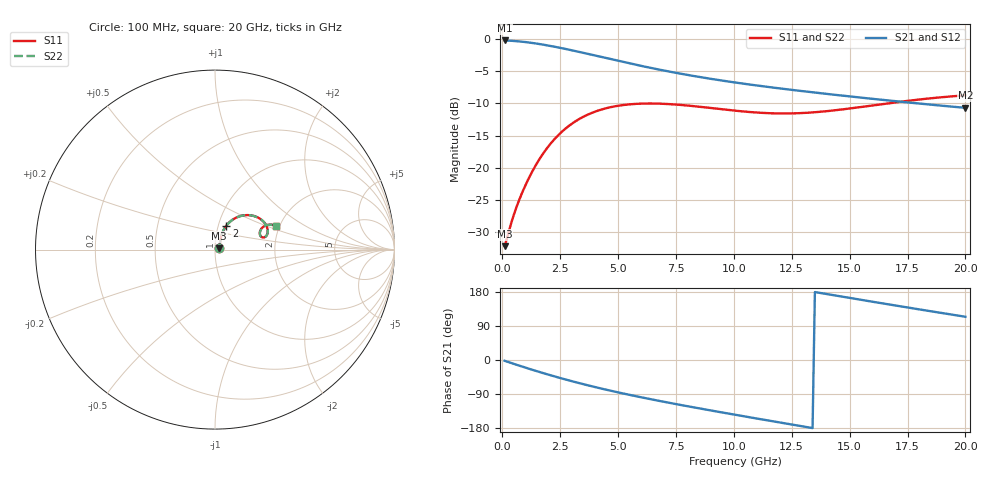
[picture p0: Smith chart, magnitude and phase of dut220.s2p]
! Touchstone file exported from HFSS 2024.1.0
!  File:  C:/UserFiles/LocalFiles/RDL_TSV_Batchsim/temp_RDL_TSV_220_1779448612.aedt
!  Generated:  07:32:49 PM May 22, 2026
!  Design:  RDL_TSV
!  Project:  temp_RDL_TSV_220_1779448612
!  Setup:  Setup1
!  Solution:  Sweep
! Variables:
!  dtsv = 10.29um
!  hbump = 3um
!  htsv = 55.93um
!  ldown = 559.9um
!  lrdl = 549.92um
!  p = 40
!  p1 = 49.11um
!  rhole = 10um
!  subl = 3879.38um
!  t = 450um
!  tdown = 4.87um
!  trdl = 2.53um
!  viad = 10um
!  wdown = 12.03um
!  wrdl = 23.87um
!  xbump = 18um
# GHz S MA R 50.000000
! Terminal data exported
! Port[1] = TM1_1_T1
! Port[2] = TM1_4_T1
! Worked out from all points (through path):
!   200 points, 100 MHz to 20 GHz, reference 50 ohm
!   highest |S21| = -0.21 dB at 100 MHz (marker M1); lowest = -10.7 dB at 20 GHz (marker M2)
!   group delay of S21, straight-line fit = 32.3 ps
!   lowest |S11| = -32.2 dB at 100 MHz (marker M3), VSWR 1.05, Z = 52.4 + j0.764 ohm
!   |S11| at or under -10 dB: start of sweep to 16.65 GHz
!   |S22| runs from -32.2 to -8.8 dB; largest |S21 - S12| = 5e-14
!   S11 on the Smith chart (normalised r, x): 100 MHz: 1.05, +0.02; 2 GHz: 1.09, +0.30; 20 GHz: 1.92, +0.58
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0.1  0.02448 17.3  0.9764 -2.1  0.9764 -2.1  0.02448 17.3
! Gamma 0 0 0 0
! Port Impedance 50 0 50 0
0.5  0.04308 50.7  0.9676 -10.3  0.9676 -10.3  0.04308 50.7
0.9  0.06647 61.8  0.953 -18.2  0.953 -18.2  0.06647 61.8
1.4  0.1011 66.3  0.928 -27.8  0.928 -27.8  0.1011 66.3
1.7  0.1238 66.1  0.91 -33.4  0.91 -33.4  0.1238 66.1
2  0.1471 64.7  0.8905 -38.8  0.8905 -38.8  0.1471 64.7
2.7  0.1993 58.7  0.841 -50.9  0.841 -50.9  0.1993 58.6
3.1  0.2257 54.4  0.8115 -57.5  0.8115 -57.5  0.2257 54.4
3.5  0.2488 50.1  0.782 -63.8  0.782 -63.8  0.2488 50.0
4.2  0.2803 42.6  0.7317 -74.3  0.7317 -74.3  0.2803 42.6
5.1  0.3049 34.0  0.6718 -86.8  0.6718 -86.8  0.3049 34.0
5.9  0.3143 27.6  0.6244 -97.2  0.6244 -97.2  0.3144 27.6
6.8  0.3146 21.9  0.578 -108.2  0.578 -108.2  0.3147 21.8
7.6  0.3086 18.1  0.5424 -117.5  0.5424 -117.5  0.3088 18.1
8.4  0.2992 15.6  0.5116 -126.5  0.5116 -126.5  0.2994 15.5
10.1  0.277 14.1  0.4585 -145.0  0.4585 -145.0  0.2773 14.0
11.7  0.2646 16.9  0.4196 -161.9  0.4196 -161.9  0.2649 16.7
13.4  0.269 21.6  0.3857 -179.7  0.3857 -179.7  0.2692 21.4
15.1  0.29 24.9  0.3567 162.8  0.3567 162.8  0.29 24.6
16.7  0.3171 25.5  0.3327 146.6  0.3327 146.6  0.3169 25.2
18.3  0.3434 23.9  0.3115 130.7  0.3115 130.7  0.3432 23.7
20  0.3652 21.0  0.292 114.1  0.292 114.1  0.3649 20.7
